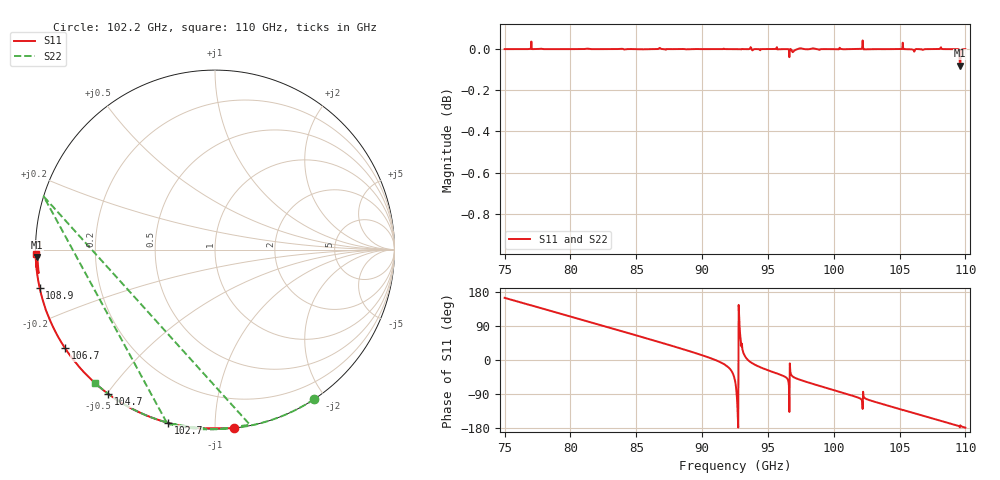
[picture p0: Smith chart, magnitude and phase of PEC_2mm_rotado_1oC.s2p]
! TOUCHSTONE file generated by CST MICROWAVE STUDIO
! Date and time: Wed Feb 14 15:11:40 2024
! Project name: metal_rotado.cst
! Parameters = {angY=1}
! Header version: 2018
! Port assignment regex: !\s*Touchstone port\s*([0-9]+)\s*=\s*(CST MWS port|CST DS port)\s*([0-9]+|Zmin|Zmax)\s*\(\"(.*)\"\)(\s*mode\s*([0-9]+))?.*
! Touchstone port assignment:
! Touchstone port 1 = CST MWS port 1 ("")
! Touchstone port 2 = CST MWS port 2 ("")
# GHz S MA R 376.7
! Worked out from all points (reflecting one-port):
!   1001 points, 75 GHz to 110 GHz, reference 376.7 ohm
!   lowest |S11| = -0.1 dB at 109.6 GHz (marker M1), VSWR 215.50, Z = 1.75 - j7.78 ohm
!   phase of S11 starts at 164 deg and turns -703 deg over the sweep
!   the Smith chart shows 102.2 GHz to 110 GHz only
!   S11 on the Smith chart (normalised r, x): 102.2 GHz: -0.00, -1.11; 102.7 GHz: 0.00, -0.76; 104.7 GHz: 0.00, -0.50; 106.7 GHz: 0.00, -0.30; 108.9 GHz: 0.00, -0.11; 110 GHz: -0.00, -0.01
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75  1 164.1  0 0.0  0 0.0  1 -164.2
80.845  1 106.4  2.994e-65 -179.8  2.994e-65 -179.8  1 140.7
86.69  1 47.8  1.802e-65 -179.8  1.802e-65 -179.8  1 85.3
91.485  1 -7.5  8.025e-66 -179.9  8.025e-66 -179.9  1 38.8
92.5  1 -54.3  0 0.0  0 0.0  1 28.5
92.71  1 -144.2  5.001e-66 180.0  5.001e-66 180.0  1 26.3
92.955  0.9999 45.1  5.014e-66 -179.9  5.014e-66 -179.9  1 23.8
93.375  1 4.2  2.007e-66 -180.0  2.007e-66 -180.0  1 19.3
96.105  1 -41.1  6.018e-66 -0.1  6.018e-66 -0.1  1 -23.0
96.56  0.9999 -56.9  7.012e-66 -0.2  7.012e-66 -0.2  1 -63.2
96.77  0.9997 -38.9  8.997e-66 -0.1  8.997e-66 -0.1  0.9995 -165.8
96.98  0.999 -45.7  1.002e-65 0.0  1.002e-65 0.0  0.9998 57.2
97.225  0.9999 -49.6  1.003e-65 -0.0  1.003e-65 -0.0  0.9998 19.3
98.345  1 -62.3  1.303e-65 -0.1  1.303e-65 -0.1  1 -14.7
102.23  1.001 -83.8  2.303e-65 -0.2  2.303e-65 -0.2  1 -56.4
102.65  0.9999 -105.2  2.401e-65 -0.2  2.401e-65 -0.2  1 -60.9
104.19  1 -121.3  2.699e-65 -0.2  2.699e-65 -0.2  1 -76.5
104.715  1 -126.5  2.898e-65 -0.2  2.898e-65 -0.2  1 -81.8
106.745  0.9996 -146.7  3.494e-65 -0.2  3.494e-65 -0.2  0.9999 -99.6
108.88  1 -167.8  4.089e-65 -0.1  4.089e-65 -0.1  0.9997 -121.2
109.58  0.9908 -177.6  4.188e-65 -0.1  4.188e-65 -0.1  1 -127.9
110  1 -178.7  0 0.0  0 0.0  1 -132.0
